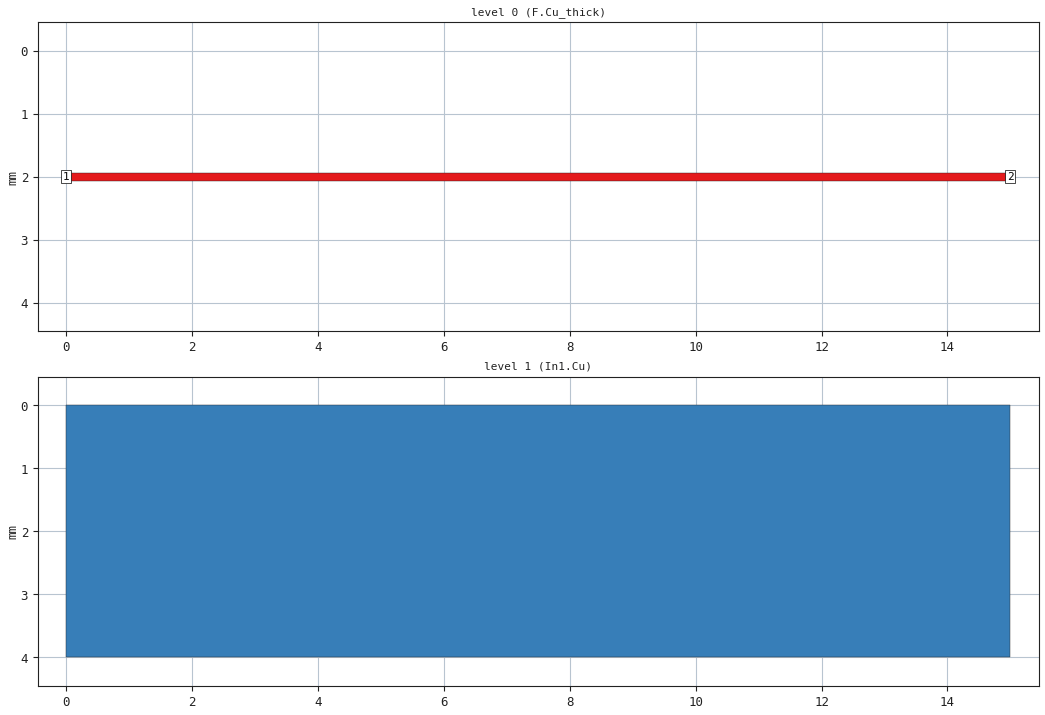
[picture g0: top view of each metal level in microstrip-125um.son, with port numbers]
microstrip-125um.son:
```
FTYP SONPROJ 19 ! Sonnet Project File
VER 18.56
HEADER
LIC antikernel2.1.52448
DAT 05/24/2023 20:13:22
BUILT_BY_CREATED xgeom 18.54 09/23/2022 20:17:08
BUILT_BY_SAVED sonnet 18.56
MDATE 05/24/2023 20:13:22
HDATE 05/24/2023 20:13:22
ANN Created by dxfgeo, Sonnet Software Inc.
END HEADER
DIM
ANG DEG
CAP FF
CON /OH
FREQ GHZ
IND PH
LNG MM
RES OH
END DIM
CONTROL
VARSWP
OPTIONS  -dj
SPEED 0
CACHE_ABS 2
Q_ACC N
END CONTROL
GEO
TMET "Free Space" 0 FREESPACE 376.7303136 0 0 0
BMET "Free Space" 0 FREESPACE 376.7303136 0 0 0
MET "Copper_1oz+plated_thick_up" 1 TMM 58000000 0.5 0.0432 2
MET "Copper_1oz+plated_thin" 4 NOR 58000000 0.5 0.0432 
MET "Copper_0.5oz_thin" 2 NOR 58000000 0.5 0.0175 
MET "Copper_1oz+plated_thick_down" 3 TMM 58000000 0.5 0.0432 2 CDVY TDWN
MET "Copper 35um" 1 VOL 58000000 0.035
BOX 4 15 4 3000 640 20 0
      10 1 1 0 0 0 0 "Air"
      0.2021 3.61 1 0.0092 0 0 0 "Isola_FR408HR"
      1.1938 3.61 1 0.0092 0 0 0 "Isola_FR408HR"
      0.2021 3.61 1 0.0092 0 0 0 "Isola_FR408HR"
      10 1 1 0 0 0 0 "Air"
TECHLAY VIA Via1 L3D0 -7 -65534 CAD Via1 drawing 
VIA POLYGON
0 0 4 N 366 1 1 100 100 0 0 0 Y
TOLEVEL 3 RING NOCOVERS
END
END
TECHLAY METAL F.Cu_thick L1D0 -1 -65534 CAD F.Cu drawing 
0 0 0 N 299 1 1 100 100 0 0 0 Y
END
END
TECHLAY METAL F.Cu_thin <UNSPECIFIED> -2 -65534 CAD F.Cu_thin drawing 
0 0 1 N 303 1 1 100 100 0 0 0 Y
END
END
TECHLAY METAL In1.Cu L2D0 -3 -65534 CAD In1.Cu drawing 
1 0 2 N 306 1 1 100 100 0 0 0 Y
END
END
TECHLAY METAL In2.Cu <UNSPECIFIED> -4 -65534 CAD In2.Cu drawing 
2 0 2 N 309 1 1 100 100 0 0 0 Y
END
END
TECHLAY METAL B.Cu_thick <UNSPECIFIED> -5 -65534 CAD B.Cu drawing 
3 0 3 N 312 1 1 100 100 0 0 0 Y
END
END
TECHLAY METAL B.Cu_thin <UNSPECIFIED> -6 -65534 CAD B.Cu_thin drawing 
3 0 1 N 314 1 1 100 100 0 0 0 Y
END
END
DIM STD YDIR -1
POS -0.08829598869 -0.3438454207
NOM 0.125
REF1 POLY 283 1
3
REF2 POLY 283 1
0
END
LORGN 0 4 U 
POR1 BOX
POLY 283 1
1
2 50 0 0 0 15 2 
POR1 BOX
POLY 283 1
3
1 50 0 0 0 0 2 
NUM 2
0 5 0 N 283 1 1 100 100 0 0 0 Y
TLAYNAM F.Cu_thick INH
0 1.9375
15 1.9375
15 2.0625
0 2.0625
0 1.9375
END
1 5 2 N 133 1 1 100 100 0 0 0 Y
TLAYNAM In1.Cu INH
0 0
15 0
15 4
0 4
0 0
END
END GEO
OPT
MAX 100
END OPT
VARSWP
ENABLED Y
FREQ Y AY ABS_ENTRY 0.1 30.0 -1 300 
END
END VARSWP
```
